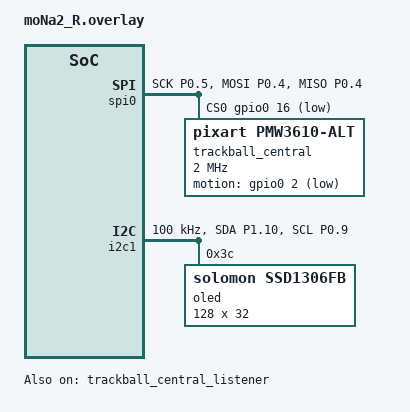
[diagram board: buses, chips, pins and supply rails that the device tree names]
#include <input/processors.dtsi>
#include <dt-bindings/zmk/keys.h>
#include <zephyr/dt-bindings/input/input-event-codes.h>
#include "moNa2.dtsi"

/ {
    chosen {
        zephyr,display = &oled;
    };

    split_inputs {
        #address-cells = <1>;
        #size-cells = <0>;

        stick_split: stick_split@1 {
            compatible = "zmk,input-split";
            reg = <1>;
        };
    };

    stick_listener: stick_listener {
        compatible = "zmk,input-listener";
        status = "okay";
        device = <&stick_split>;
        
        layer0 {
            layers = <0>;
            input-processors = <&zip_xy_to_scroll_mapper>;
        };
        layer1 {
            layers = <1>;
            input-processors = <&zip_xy_scaler 1 16>;
        };
    };

    zip_keybind_keys: zip_keybind_keys {
        compatible = "zmk,input-processor-keybind";
        #input-processor-cells = <0>;
        bindings = <&kp RIGHT>,
                   <&kp LEFT>,
                   <&kp UP>,
                   <&kp DOWN>;
        tick = <40>;
        wait-ms = <0>;
        tap-ms = <10>;
    };
};

&default_transform {
    col-offset = <6>;
};

&kscan0 {
        col-gpios
            = <&xiao_d 10 GPIO_ACTIVE_HIGH>
            , <&xiao_d 9 GPIO_ACTIVE_HIGH> 
            , <&xiao_d 8 GPIO_ACTIVE_HIGH> 
            , <&xiao_d 7 GPIO_ACTIVE_HIGH> 
            , <&gpio0 10 GPIO_ACTIVE_HIGH>
            ;
};

&pinctrl {
    spi0_default: spi0_default {    //通常時(SPI通信中)のピン構成
        group1 {
            psels = <NRF_PSEL(SPIM_SCK, 0, 5)>, //P0.05を指定(SCLK)
                <NRF_PSEL(SPIM_MOSI, 0, 4)>,    //P0.04を指定(SDIOだからMOSI,MISO両方の役割を担う)
                <NRF_PSEL(SPIM_MISO, 0, 4)>;
        };
    };

    spi0_sleep: spi0_sleep {    //スリープ時のピン構成(省電力)
        group1 {
            psels = <NRF_PSEL(SPIM_SCK, 0, 5)>,
                <NRF_PSEL(SPIM_MOSI, 0, 4)>,
                <NRF_PSEL(SPIM_MISO, 0, 4)>;
            low-power-enable;
        };
    };

    i2c1_default: i2c1_default {
        group1 {
            psels = <NRF_PSEL(TWIM_SDA, 1, 10)>,
                    <NRF_PSEL(TWIM_SCL, 0, 9 )>;
            bias-pull-up;
        };
    };
      
    i2c1_sleep: i2c1_sleep {
        group1 {
            psels = <NRF_PSEL(TWIM_SDA, 1, 10)>,
                    <NRF_PSEL(TWIM_SCL, 0, 9 )>;
            low-power-enable;
            bias-pull-up;
        };
    };
};

// Overrides for the input listener node
&trackball_central_listener {
    status = "okay";
    device = <&trackball_central>;

    input-processors = <&zip_xy_transform (INPUT_TRANSFORM_Y_INVERT)>, <&zip_temp_layer 5 700>;

    scroller {
        layers = <3>;
        input-processors = 
            // <&zip_xy_transform INPUT_TRANSFORM_XY_SWAP>,        //X軸とY軸の入れ替え
            <&zip_xy_transform INPUT_TRANSFORM_X_INVERT>,       //X軸反転
            <&zip_xy_to_scroll_mapper>,                         //スクロールモードに変更
            <&zip_scroll_transform INPUT_TRANSFORM_X_INVERT>,   //スクロールのX軸反転
            <&zip_scroll_scaler 1 5>;                           //スクロール量を1/4倍
    };

    arrow {
        layers = <4>;
        input-processors = <&zip_xy_transform (INPUT_TRANSFORM_Y_INVERT)>, <&zip_keybind_keys>;
        process-next;
    };
    
    arrow-prevent-move {
        layers = <4>;
        input-processors = <&zip_xy_scaler 0 1>;
    };
};

&spi0 {
    status = "okay";
    compatible = "nordic,nrf-spim"; //マイコンがnRFシリーズ
    pinctrl-0 = <&spi0_default>;
    pinctrl-1 = <&spi0_sleep>;
    pinctrl-names = "default", "sleep";
    cs-gpios = <&gpio0 16 GPIO_ACTIVE_LOW>;  //P0.09を指定(CS)

    trackball_central: trackball_central@0 {
        status = "okay";
        compatible = "pixart,pmw3610-alt";  //トラボセンサ用のドライバとバインド
        reg = <0>;
        spi-max-frequency = <2000000>;
        motion-gpios = <&gpio0 2 (GPIO_ACTIVE_LOW | GPIO_PULL_UP)>; //P0.02を指定(MOTION)
        res-cpi = <600>;
        //swap-xy;
        //invert-x; //COROPIT版ではコメントアウトを外す
        //invert-y;　//COROPIT版ではコメントアウトを外す
        zephyr,axis-x = <INPUT_REL_X>;
        zephyr,axis-y = <INPUT_REL_Y>;
    };
};

&i2c1 {
    status = "okay";
    compatible = "nordic,nrf-twi";
    pinctrl-0 = <&i2c1_default>;
    pinctrl-1 = <&i2c1_sleep>;
    pinctrl-names = "default", "sleep";
    clock-frequency = <100000>; 
    
    oled: ssd1306@3c {
        compatible = "solomon,ssd1306fb";
        reg = <0x3c>;
        width = <128>;
        height = <32>;
        segment-offset = <0>;
        page-offset = <0>;
        display-offset = <0>;
        multiplex-ratio = <31>;
        segment-remap;
        com-invdir;
        com-sequential;
        inversion-on;
        prechargep = <0x22>;
    };
};
